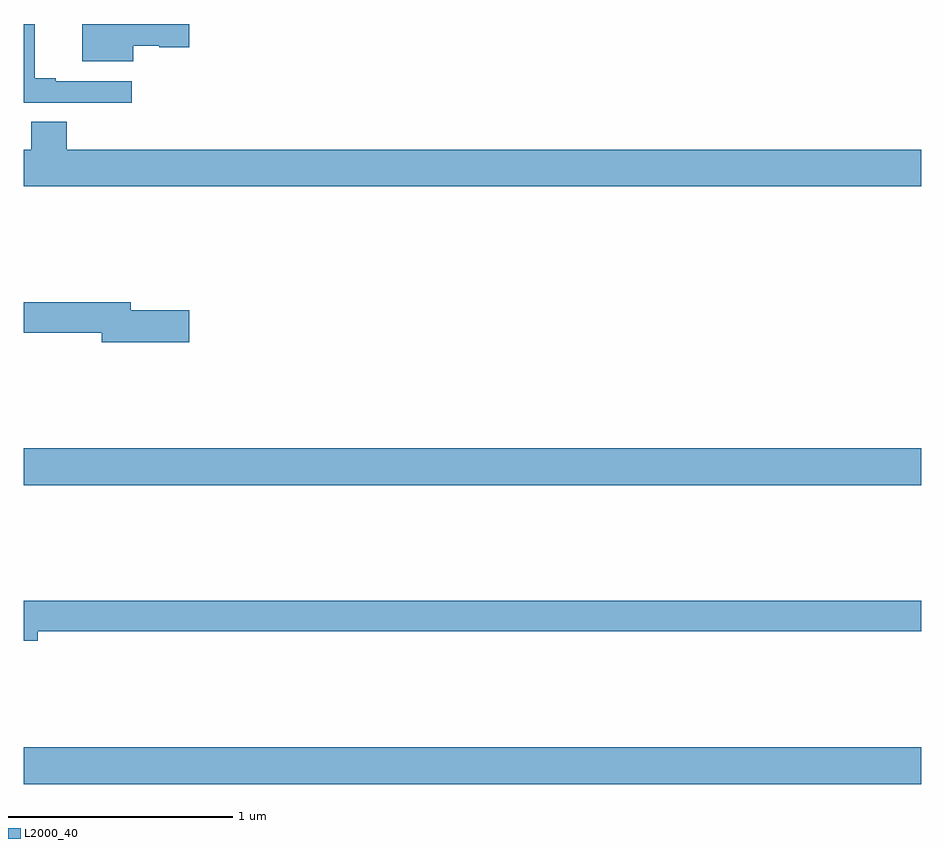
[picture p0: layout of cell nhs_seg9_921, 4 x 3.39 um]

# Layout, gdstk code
import gdstk
lib = gdstk.Library(unit=1e-6, precision=1e-09)
def R(c, l, rs):  # rectangles x0, y0, x1, y1
    for r in rs: c.add(gdstk.rectangle(r[:2], r[2:], *l))
def P(c, l, *ps):  # polygons
    for p in ps: c.add(gdstk.Polygon(p, *l))
L2000_40 = (2000, 40)

nhs_seg9_921 = lib.new_cell('nhs_seg9_921')
R(nhs_seg9_921, L2000_40, [(161,1171.112,165,1171.276), (161,1172.444,165,1172.608)])
P(nhs_seg9_921, L2000_40, [(161.482,1174.245),(161.143,1174.245),(161.143,1174.258),(161.048,1174.258),(161.048,1174.5),(161,1174.5),(161,1174.149),(161.482,1174.149)],
  [(161.488,1174.403),(161.604,1174.403),(161.604,1174.396),(161.737,1174.396),(161.737,1174.5),(161.261,1174.5),(161.261,1174.334),(161.488,1174.334)],
  [(165,1173.94),(161.192,1173.94),(161.192,1174.064),(161.032,1174.064),(161.032,1173.94),(161,1173.94),(161,1173.776),(165,1173.776)],
  [(161.737,1173.224),(161.476,1173.224),(161.476,1173.26),(161,1173.26),(161,1173.124),(161.348,1173.124),(161.348,1173.082),(161.737,1173.082)],
  [(161.062,1171.792),(165,1171.792),(165,1171.928),(161,1171.928),(161,1171.75),(161.062,1171.75)])

lib.write_gds('nhs_seg9_921.gds')
